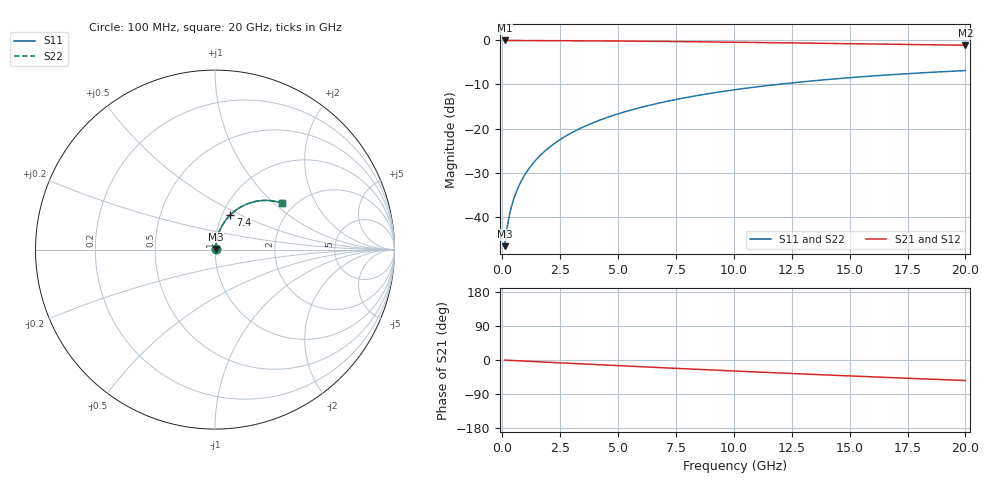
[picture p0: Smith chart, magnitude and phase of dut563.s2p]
! Touchstone file exported from HFSS 2026.1.0
!  File:  C:/ffzhzh/LocalFiles/Ansys_Project_Files/temp_train_BSMRDL_563_1783015388_51716.aedt
!  Generated:  02:04:54 AM Jul  3, 2026
!  Design:  BSMRDL
!  Project:  temp_train_BSMRDL_563_1783015388_51716
! Variables:
!  h_bsmrdl = 3.43um
!  h_ox = 20um
!  h_rdl = 5um
!  h_sub = 80um
!  h_tmrdl = 5um
!  h_tsv = 80um
!  h_via = 3um
!  l_bsmrdl = 820.13um
!  l_sub = 1220.13um
!  l_tmrdl = 200um
!  m_sub = 200um
!  pitch = 59.56um
!  r_tsv = 6um
!  s_tmrdl = 10um
!  w_bsmrdl = 28.5um
!  w_sub = 500um
!  w_tmrdl = 12um
!  x_tsv_center1 = 206um
!  x_tsv_center2 = 1054.63um
!  x_tsv_center3 = 1266.63um
!  x_tsv_center4 = 2115.26um
!  x_tsv_center5 = 2327.26um
!  x_tsv_center6 = 3175.89um
# GHz S MA R 50.000000
! Terminal data exported
! Port[1] = BSM_RDL1_1_T1
! Port[2] = BSM_RDL1_1_T2
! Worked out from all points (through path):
!   200 points, 100 MHz to 20 GHz, reference 50 ohm
!   highest |S21| = -0.03 dB at 100 MHz (marker M1); lowest = -1.1 dB at 20 GHz (marker M2)
!   group delay of S21, straight-line fit = 7.53 ps
!   lowest |S11| = -46.7 dB at 100 MHz (marker M3), VSWR 1.01, Z = 50.3 + j0.334 ohm
!   |S11| at or under -10 dB: start of sweep to 11.88 GHz
!   |S22| runs from -46.7 to -6.9 dB; largest |S21 - S12| = 2.6e-15
!   S11 on the Smith chart (normalised r, x): 100 MHz: 1.01, +0.01; 7.4 GHz: 1.09, +0.44; 20 GHz: 1.73, +1.12
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0.1  0.004644 45.7  0.9968 -0.3  0.9968 -0.3  0.004644 45.7
! Gamma 0 0 0 0
! Port Impedance 50 0 50 0
0.2  0.007391 61.6  0.9965 -0.6  0.9965 -0.6  0.007391 61.6
0.3  0.01028 68.2  0.9963 -0.9  0.9963 -0.9  0.01028 68.2
0.4  0.01317 71.9  0.9961 -1.2  0.9961 -1.2  0.01317 71.9
0.5  0.01607 74.3  0.9959 -1.5  0.9959 -1.5  0.01607 74.3
0.6  0.01898 75.9  0.9958 -1.8  0.9958 -1.8  0.01898 75.9
0.8  0.02484 77.9  0.9955 -2.4  0.9955 -2.4  0.02484 77.9
1.1  0.03369 79.4  0.9952 -3.3  0.9952 -3.3  0.03369 79.4
1.5  0.04555 79.9  0.9946 -4.5  0.9946 -4.5  0.04555 79.9
1.8  0.05444 79.8  0.994 -5.4  0.994 -5.4  0.05444 79.8
2.1  0.06332 79.5  0.9934 -6.3  0.9934 -6.3  0.06332 79.5
2.7  0.08098 78.4  0.9918 -8.1  0.9918 -8.1  0.08098 78.4
3.5  0.1043 76.6  0.9892 -10.5  0.9892 -10.5  0.1043 76.6
4.2  0.1243 74.8  0.9865 -12.6  0.9865 -12.6  0.1243 74.8
5  0.1468 72.6  0.9829 -14.9  0.9829 -14.9  0.1468 72.7
6.8  0.1954 67.8  0.9733 -20.1  0.9733 -20.1  0.1954 67.8
7.4  0.211 66.1  0.9698 -21.8  0.9698 -21.8  0.211 66.1
8.7  0.2436 62.6  0.9615 -25.4  0.9615 -25.4  0.2436 62.6
10.1  0.2768 58.9  0.9519 -29.3  0.9519 -29.3  0.2768 58.9
13.4  0.3473 50.4  0.9277 -38.0  0.9277 -38.0  0.3472 50.4
16.7  0.4063 42.3  0.9031 -46.3  0.9031 -46.3  0.4062 42.3
20  0.4541 34.6  0.8801 -54.1  0.8801 -54.1  0.4541 34.6
